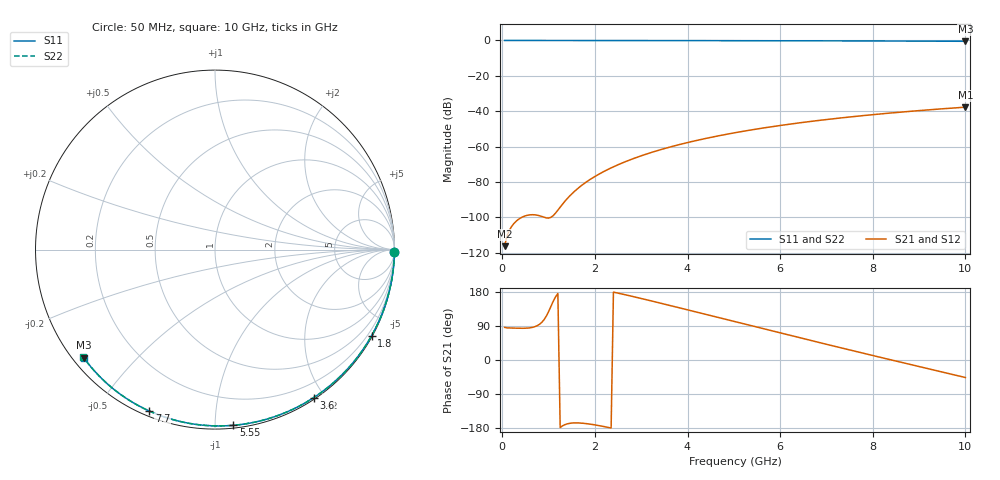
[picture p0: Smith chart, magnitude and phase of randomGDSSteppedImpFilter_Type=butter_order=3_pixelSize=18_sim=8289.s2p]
! freq	dB(S11)	phase(S11)	dB(S12)	phase(S12)
!  dB(S21)	phase(S21)	dB(S22)	phase(S22)
!S-par simulation data
#  GHz  S  DB  R 50
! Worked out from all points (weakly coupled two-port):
!   200 points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, 50 MHz to 10 GHz, reference 50 ohm
!   highest |S21| = -37.68 dB at 10 GHz (marker M1); lowest = -116.2 dB at 50 MHz (marker M2)
!   lowest |S11| = -0.5 dB at 10 GHz (marker M3), VSWR 36.98, Z = 1.53 - j17.9 ohm
!   |S11| at or under -10 dB: nowhere
!   |S22| runs from -0.5 to 0.0 dB; largest |S21 - S12| = 0
!   S11 on the Smith chart (normalised r, x): 50 MHz: open; 1.8 GHz: 0.03, -3.88; 3.6 GHz: 0.02, -1.87; 5.55 GHz: 0.02, -1.11; 7.7 GHz: 0.02, -0.67; 10 GHz: 0.03, -0.36
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0.05  -0.00 -0.8  -116.20 86.1  -116.20 86.1  -0.00 -0.8
0.45  -0.01 -7.3  -99.54 83.7  -99.54 83.7  -0.01 -7.3
0.9  -0.02 -14.6  -99.86 106.1  -99.86 106.1  -0.02 -14.6
1.3  -0.03 -21.0  -92.46 -173.8  -92.46 -173.8  -0.03 -21.0
1.75  -0.04 -28.1  -81.16 -167.0  -81.16 -167.0  -0.04 -28.1
1.8  -0.04 -28.9  -80.22 -167.7  -80.22 -167.7  -0.04 -28.9
2.15  -0.04 -34.3  -74.61 -174.6  -74.61 -174.6  -0.04 -34.4
2.35  -0.05 -37.5  -71.98 -179.5  -71.98 -179.5  -0.05 -37.5
2.55  -0.05 -40.5  -69.63 175.1  -69.63 175.1  -0.05 -40.6
2.95  -0.06 -46.6  -65.60 163.8  -65.60 163.8  -0.06 -46.7
3.4  -0.07 -53.4  -61.83 150.5  -61.83 150.5  -0.07 -53.4
3.6  -0.08 -56.4  -60.34 144.5  -60.34 144.5  -0.08 -56.4
3.9  -0.08 -60.8  -58.31 135.4  -58.31 135.4  -0.08 -60.8
4.3  -0.09 -66.6  -55.87 123.2  -55.87 123.2  -0.09 -66.6
5.05  -0.12 -77.2  -52.00 100.3  -52.00 100.3  -0.12 -77.2
5.55  -0.14 -84.0  -49.80 85.1  -49.80 85.1  -0.14 -84.1
6.1  -0.16 -91.4  -47.66 68.4  -47.66 68.4  -0.16 -91.5
6.7  -0.19 -99.3  -45.61 50.4  -45.61 50.4  -0.19 -99.4
7.7  -0.25 -112.1  -42.69 20.7  -42.69 20.7  -0.26 -112.2
8.35  -0.31 -120.3  -41.06 1.6  -41.06 1.6  -0.31 -120.4
9.2  -0.38 -130.8  -39.20 -23.1  -39.20 -23.1  -0.38 -130.8
10  -0.47 -140.6  -37.68 -46.2  -37.68 -46.2  -0.47 -140.7
